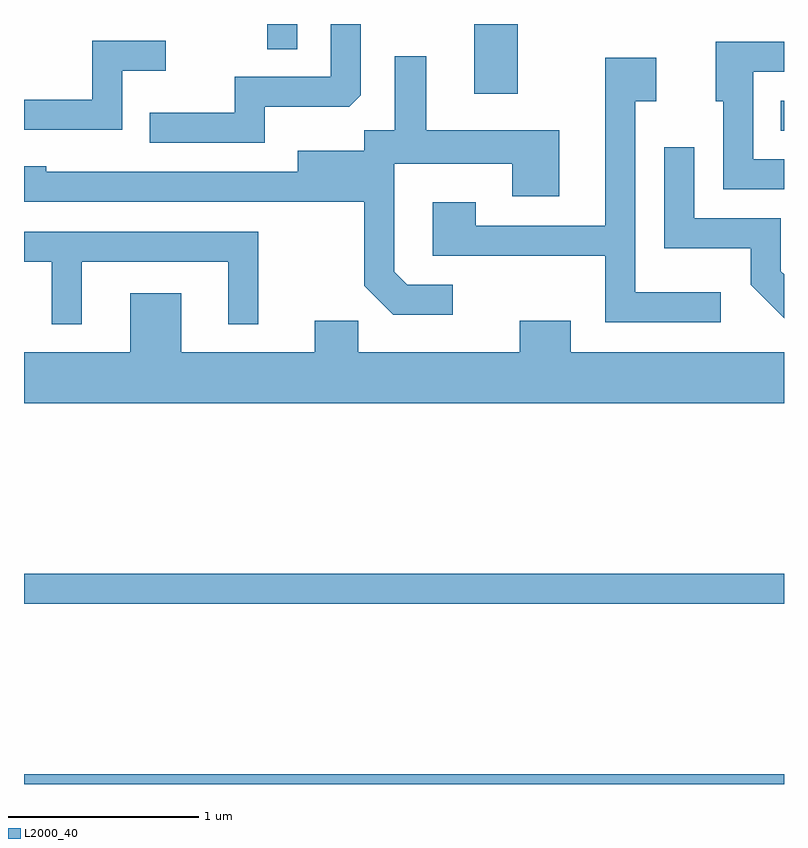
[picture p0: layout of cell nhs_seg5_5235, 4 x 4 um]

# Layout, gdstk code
import gdstk
lib = gdstk.Library(unit=1e-6, precision=1e-09)
def R(c, l, rs):  # rectangles x0, y0, x1, y1
    for r in rs: c.add(gdstk.rectangle(r[:2], r[2:], *l))
def P(c, l, *ps):  # polygons
    for p in ps: c.add(gdstk.Polygon(p, *l))
L2000_40 = (2000, 40)

nhs_seg5_5235 = lib.new_cell('nhs_seg5_5235')
R(nhs_seg5_5235, L2000_40, [(339.611,1508.072,343.611,1508.124), (339.611,1509.021,343.611,1509.179), (343.593,1511.511,343.611,1511.669), (341.981,1511.706,342.209,1512.072), (340.891,1511.938,341.049,1512.072)])
P(nhs_seg5_5235, L2000_40, [(340.879,1511.636),(341.324,1511.636),(341.384,1511.697),(341.384,1512.072),(341.226,1512.072),(341.226,1511.794),(340.721,1511.794),(340.721,1511.604),(340.273,1511.604),(340.273,1511.446),(340.879,1511.446)],
  [(340.129,1511.826),(340.358,1511.826),(340.358,1511.984),(339.971,1511.984),(339.971,1511.674),(339.611,1511.674),(339.611,1511.516),(340.129,1511.516)],
  [(343.611,1511.359),(343.449,1511.359),(343.449,1511.821),(343.611,1511.821),(343.611,1511.979),(343.251,1511.979),(343.251,1511.666),(343.291,1511.666),(343.291,1511.201),(343.611,1511.201)],
  [(341.868,1510.699),(341.627,1510.699),(341.559,1510.767),(341.559,1511.336),(342.181,1511.336),(342.181,1511.166),(342.429,1511.166),(342.429,1511.514),(341.729,1511.514),(341.729,1511.903),(341.561,1511.903),(341.561,1511.514),(341.401,1511.514),(341.401,1511.404),(341.051,1511.404),(341.051,1511.294),(339.729,1511.294),(339.729,1511.324),(339.611,1511.324),(339.611,1511.136),(341.401,1511.136),(341.401,1510.694),(341.554,1510.541),(341.868,1510.541)],
  [(343.278,1510.659),(342.829,1510.659),(342.829,1511.666),(342.939,1511.666),(342.939,1511.894),(342.671,1511.894),(342.671,1511.009),(341.989,1511.009),(341.989,1511.134),(341.761,1511.134),(341.761,1510.851),(342.671,1510.851),(342.671,1510.501),(343.278,1510.501)],
  [(343.611,1510.755),(343.594,1510.772),(343.594,1511.049),(343.139,1511.049),(343.139,1511.423),(342.981,1511.423),(342.981,1510.891),(343.436,1510.891),(343.436,1510.699),(343.611,1510.524)],
  [(339.914,1510.821),(340.686,1510.821),(340.686,1510.493),(340.844,1510.493),(340.844,1510.979),(339.611,1510.979),(339.611,1510.821),(339.756,1510.821),(339.756,1510.493),(339.914,1510.493)],
  [(343.611,1510.344),(342.489,1510.344),(342.489,1510.509),(342.221,1510.509),(342.221,1510.344),(341.369,1510.344),(341.369,1510.509),(341.141,1510.509),(341.141,1510.344),(340.439,1510.344),(340.439,1510.654),(340.171,1510.654),(340.171,1510.344),(339.611,1510.344),(339.611,1510.076),(343.611,1510.076)])

lib.write_gds('nhs_seg5_5235.gds')
